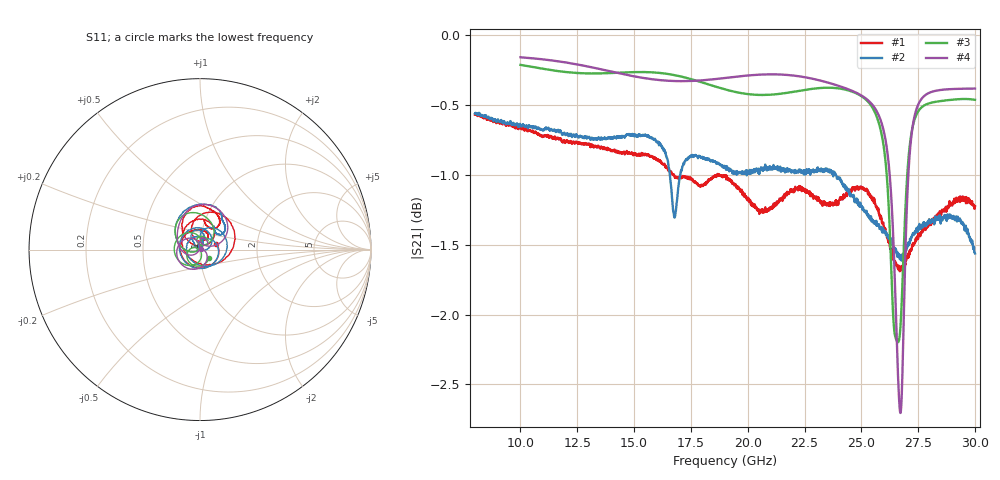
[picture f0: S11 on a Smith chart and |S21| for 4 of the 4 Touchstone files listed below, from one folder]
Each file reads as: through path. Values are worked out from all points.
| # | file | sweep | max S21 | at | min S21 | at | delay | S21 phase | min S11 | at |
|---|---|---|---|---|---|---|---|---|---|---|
| 1 | Measured_Line.s2p | 8 GHz to 30 GHz | -0.56 dB | 8.176 GHz | -1.7 dB | 26.69 GHz | 198 ps | 86 deg at 19 GHz | -33.0 dB | 24.96 GHz |
| 2 | Measured_Thru.s2p | 8 GHz to 30 GHz | -0.55 dB | 8.176 GHz | -1.6 dB | 26.77 GHz | 182 ps | -159 deg at 19 GHz | -56.7 dB | 23.54 GHz |
| 3 | Simulation_Line.s2p | 10 GHz to 30 GHz | -0.21 dB | 10 GHz | -2.2 dB | 26.61 GHz | 87.7 ps | 92 deg at 20 GHz | -50.7 dB | 15.88 GHz |
| 4 | Simulation_Thru.s2p | 10 GHz to 30 GHz | -0.16 dB | 10 GHz | -2.7 dB | 26.72 GHz | 71.7 ps | -153 deg at 20 GHz | -47.7 dB | 21.66 GHz |
